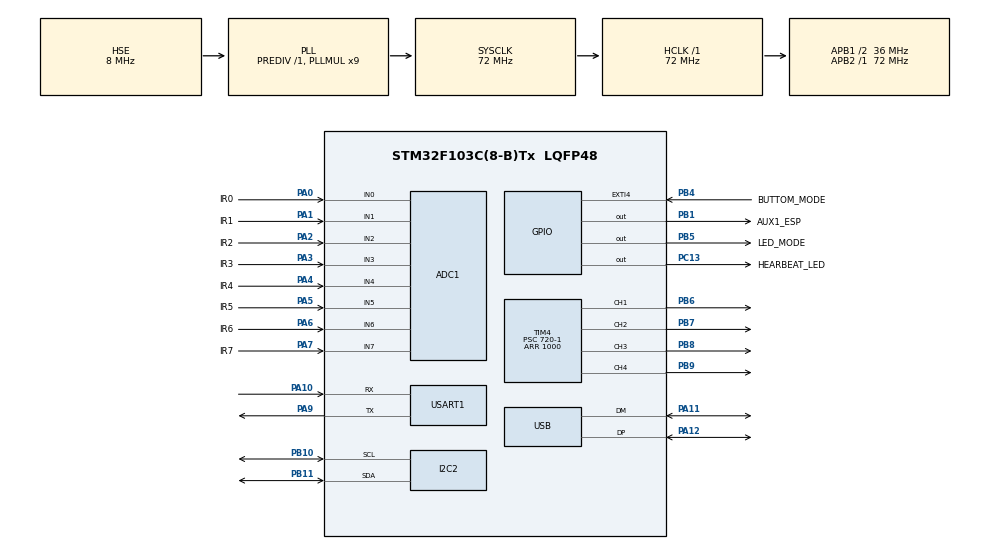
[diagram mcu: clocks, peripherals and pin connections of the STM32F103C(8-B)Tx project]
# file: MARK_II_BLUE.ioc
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ADC1.Channel-0\#ChannelRegularConversion=ADC_CHANNEL_0
ADC1.Channel-1\#ChannelRegularConversion=ADC_CHANNEL_0
ADC1.Channel-2\#ChannelRegularConversion=ADC_CHANNEL_0
ADC1.Channel-3\#ChannelRegularConversion=ADC_CHANNEL_0
ADC1.Channel-4\#ChannelRegularConversion=ADC_CHANNEL_0
ADC1.Channel-5\#ChannelRegularConversion=ADC_CHANNEL_0
ADC1.Channel-6\#ChannelRegularConversion=ADC_CHANNEL_0
ADC1.Channel-7\#ChannelRegularConversion=ADC_CHANNEL_0
ADC1.NbrOfConversion=8
ADC1.NbrOfConversionFlag=1
ADC1.Rank-0\#ChannelRegularConversion=1
ADC1.Rank-1\#ChannelRegularConversion=2
ADC1.Rank-2\#ChannelRegularConversion=3
ADC1.Rank-3\#ChannelRegularConversion=4
ADC1.Rank-4\#ChannelRegularConversion=5
ADC1.Rank-5\#ChannelRegularConversion=6
ADC1.Rank-6\#ChannelRegularConversion=7
ADC1.Rank-7\#ChannelRegularConversion=8
ADC1.SamplingTime-0\#ChannelRegularConversion=ADC_SAMPLETIME_1CYCLE_5
ADC1.SamplingTime-1\#ChannelRegularConversion=ADC_SAMPLETIME_1CYCLE_5
ADC1.SamplingTime-2\#ChannelRegularConversion=ADC_SAMPLETIME_1CYCLE_5
ADC1.SamplingTime-3\#ChannelRegularConversion=ADC_SAMPLETIME_1CYCLE_5
ADC1.SamplingTime-4\#ChannelRegularConversion=ADC_SAMPLETIME_1CYCLE_5
ADC1.SamplingTime-5\#ChannelRegularConversion=ADC_SAMPLETIME_1CYCLE_5
ADC1.SamplingTime-6\#ChannelRegularConversion=ADC_SAMPLETIME_1CYCLE_5
ADC1.SamplingTime-7\#ChannelRegularConversion=ADC_SAMPLETIME_1CYCLE_5
ADC1.master=1
Dma.ADC1.0.Direction=DMA_PERIPH_TO_MEMORY
Dma.ADC1.0.Instance=DMA1_Channel1
Dma.ADC1.0.MemDataAlignment=DMA_MDATAALIGN_HALFWORD
Dma.ADC1.0.MemInc=DMA_MINC_ENABLE
Dma.ADC1.0.Mode=DMA_NORMAL
Dma.ADC1.0.PeriphDataAlignment=DMA_PDATAALIGN_HALFWORD
Dma.ADC1.0.PeriphInc=DMA_PINC_DISABLE
Dma.ADC1.0.Priority=DMA_PRIORITY_LOW
Dma.Request0=ADC1
I2C2.I2C_Mode=I2C_Fast
Mcu.Family=STM32F1
Mcu.Name=STM32F103C(8-B)Tx
Mcu.Package=LQFP48
NVIC.ADC1_2_IRQn=true\:0\:0\:false\:false\:true\:true\:true\:true
NVIC.DMA1_Channel1_IRQn=true\:0\:0\:false\:false\:true\:false\:true\:true
NVIC.EXTI4_IRQn=true\:0\:0\:false\:false\:true\:true\:true\:true
NVIC.PriorityGroup=NVIC_PRIORITYGROUP_4
NVIC.TIM2_IRQn=true\:0\:0\:false\:false\:true\:true\:true\:true
NVIC.USART1_IRQn=true\:0\:0\:false\:false\:true\:true\:true\:true
NVIC.USB_LP_CAN1_RX0_IRQn=true\:0\:0\:false\:false\:true\:false\:true\:true
PA0-WKUP.GPIO_Label=IR0
PA0-WKUP.Signal=ADCx_IN0
PA1.GPIO_Label=IR1
PA1.Signal=ADCx_IN1
PA10.Mode=Asynchronous
PA10.Signal=USART1_RX
PA11.Mode=Device
PA11.Signal=USB_DM
PA12.Mode=Device
PA12.Signal=USB_DP
PA13.Mode=Serial_Wire
PA13.Signal=SYS_JTMS-SWDIO
PA14.Mode=Serial_Wire
PA14.Signal=SYS_JTCK-SWCLK
PA2.GPIO_Label=IR2
PA2.Signal=ADCx_IN2
PA3.GPIO_Label=IR3
PA3.Signal=ADCx_IN3
PA4.GPIO_Label=IR4
PA4.Signal=ADCx_IN4
PA5.GPIO_Label=IR5
PA5.Signal=ADCx_IN5
PA6.GPIO_Label=IR6
PA6.Signal=ADCx_IN6
PA7.GPIO_Label=IR7
PA7.Signal=ADCx_IN7
PA9.Mode=Asynchronous
PA9.Signal=USART1_TX
PB1.GPIO_Label=AUX1_ESP
PB1.Signal=GPIO_Output
PB10.Mode=I2C
PB10.Signal=I2C2_SCL
PB11.Mode=I2C
PB11.Signal=I2C2_SDA
PB4.GPIO_Label=BUTTOM_MODE
PB4.GPIO_ModeDefaultEXTI=GPIO_MODE_IT_FALLING
PB4.GPIO_PuPd=GPIO_PULLUP
PB4.Signal=GPXTI4
PB5.GPIO_Label=LED_MODE
PB5.Signal=GPIO_Output
PB6.Signal=S_TIM4_CH1
PB7.Signal=S_TIM4_CH2
PB8.Signal=S_TIM4_CH3
PB9.Signal=S_TIM4_CH4
PC13-TAMPER-RTC.GPIO_Label=HEARBEAT_LED
PC13-TAMPER-RTC.Signal=GPIO_Output
PC14-OSC32_IN.Mode=LSE-External-Oscillator
PC14-OSC32_IN.Signal=RCC_OSC32_IN
PC15-OSC32_OUT.Mode=LSE-External-Oscillator
PC15-OSC32_OUT.Signal=RCC_OSC32_OUT
PD0-OSC_IN.Mode=HSE-External-Oscillator
PD0-OSC_IN.Signal=RCC_OSC_IN
PD1-OSC_OUT.Mode=HSE-External-Oscillator
PD1-OSC_OUT.Signal=RCC_OSC_OUT
ProjectManager.HeapSize=0x200
ProjectManager.StackSize=0x400
ProjectManager.TargetToolchain=STM32CubeIDE
RCC.ADCPresc=RCC_ADCPCLK2_DIV6
RCC.AHBFreq_Value=72000000
RCC.APB1CLKDivider=RCC_HCLK_DIV2
RCC.APB1Freq_Value=36000000
RCC.APB1TimFreq_Value=72000000
RCC.APB2Freq_Value=72000000
RCC.APB2TimFreq_Value=72000000
RCC.HCLKFreq_Value=72000000
RCC.PLLMUL=RCC_PLL_MUL9
RCC.PLLSourceVirtual=RCC_PLLSOURCE_HSE
RCC.SYSCLKFreq_VALUE=72000000
RCC.SYSCLKSource=RCC_SYSCLKSOURCE_PLLCLK
RCC.USBFreq_Value=48000000
RCC.USBPrescaler=RCC_USBCLKSOURCE_PLL_DIV1_5
SH.ADCx_IN0.0=ADC1_IN0,IN0
SH.ADCx_IN1.0=ADC1_IN1,IN1
SH.ADCx_IN2.0=ADC1_IN2,IN2
SH.ADCx_IN3.0=ADC1_IN3,IN3
SH.ADCx_IN4.0=ADC1_IN4,IN4
SH.ADCx_IN5.0=ADC1_IN5,IN5
SH.ADCx_IN6.0=ADC1_IN6,IN6
SH.ADCx_IN7.0=ADC1_IN7,IN7
SH.S_TIM4_CH1.0=TIM4_CH1,PWM Generation1 CH1
SH.S_TIM4_CH2.0=TIM4_CH2,PWM Generation2 CH2
SH.S_TIM4_CH3.0=TIM4_CH3,PWM Generation3 CH3
SH.S_TIM4_CH4.0=TIM4_CH4,PWM Generation4 CH4
TIM2.Period=18000
TIM2.Prescaler=0
TIM4.Channel-PWM\ Generation1\ CH1=TIM_CHANNEL_1
TIM4.Channel-PWM\ Generation2\ CH2=TIM_CHANNEL_2
TIM4.Channel-PWM\ Generation3\ CH3=TIM_CHANNEL_3
TIM4.Channel-PWM\ Generation4\ CH4=TIM_CHANNEL_4
TIM4.Period=1000
TIM4.Prescaler=720-1
USART1.VirtualMode=VM_ASYNC
USB_DEVICE.CLASS_NAME_FS=CDC
USB_DEVICE.VirtualMode=Cdc
USB_DEVICE.VirtualModeFS=Cdc_FS
VP_TIM2_VS_ClockSourceINT.Mode=Internal
VP_TIM4_VS_ClockSourceINT.Mode=Internal
VP_USB_DEVICE_VS_USB_DEVICE_CDC_FS.Mode=CDC_FS
board=custom

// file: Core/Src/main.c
/* USER CODE BEGIN Header */
/**
  ******************************************************************************
  * @file           : main.c
  * @author  		: A. Nahuel Medina
  * @brief          : Main program body
  ******************************************************************************
  * @attention
  *
  * Copyright (c) 2023 STMicroelectronics.
  * All rights reserved.
  *
  * This software is licensed under terms that can be found in the LICENSE file
  * in the root directory of this software component.
  * If no LICENSE file comes with this software, it is provided AS-IS.
  *
  ******************************************************************************
  */
/* USER CODE END Header */
#include "main.h"
#include "usb_device.h"

/* USER CODE BEGIN Includes */
#include "usbd_cdc_if.h"
#include "ESP01.h"

#include "util.h"
#include "sh1106.h"
#include "MPU6050.h"

/* USER CODE END Includes */

ADC_HandleTypeDef hadc1;
DMA_HandleTypeDef hdma_adc1;

I2C_HandleTypeDef hi2c2;

TIM_HandleTypeDef htim2;
TIM_HandleTypeDef htim4;

UART_HandleTypeDef huart1;

/* USER CODE BEGIN PV */
/* COMUNICACION CODE BEGIN PV */
volatile _rx rxUSB;
_tx txUSB;
uint8_t bufUSB_Rx[256];
uint8_t bufUSB_Tx[256];
uint8_t bytes_to_send;

/*Comunicacion USART (comunicacion entre el micro y la ESP01)*/
volatile _rx rxUSART;
_tx txUSART;
uint8_t bufUSART_Rx[256];
uint8_t bufUSART_Tx[256];

/*Transmision desde el micro a la pc mediante WIFI*/
_tx txAUX;
uint8_t bufAUX_Tx[256];

_sESP01Handle ESP01Manager;
//Configuracion de valores para conexion UDP
// FACULTAD

const char SSID[]= "FCAL-Personal";
const char PASSWORD[]= "fcal-uner+2019";
const char RemoteIP[]="172.22.243.121";
uint16_t RemotePORT = 30010;
uint16_t LocalPORT = 30001;

//CASA
/*
const char SSID[]= "ANM2";
const char PASSWORD[]= "anm157523";
const char RemoteIP[]="192.168.0.11";
uint16_t RemotePORT = 30010;
uint16_t LocalPORT = 30001;
*/

/* COMUNICACION CODE EDN PV */

/* MPU6050 CODE BEGIN PV */
extern int32_t Ax, Ay, Az, Gx, Gy, Gz;
/* MPU6050 CODE END PV */

/* MANIPULACION DE DATOS Y BANDERAS CODE BEGIN PV */
uint8_t robotMode = IDLE;
_work w;
_flag flag1;
_flag flag2;
/* MANIPULACION DE DATOS Y BANDERAS CODE END PV */

/* HEARTBEAT CODE BEGIN PV */
uint32_t SECUENCE_LED_IDLE = MASK_IDLE;
uint32_t SECUENCE_LED_FOLLOW_LINE = MASK_FOLLOW_LINE;
uint8_t indexHb = 0;
/* HEARTBEAT CODE END PV */

/* ADC CODE BEGIN PV */
uint16_t ADCData[LENGHT_MAX_CONV_ADC][8];
uint16_t indexADC;
uint16_t analogValue_IR[8];
uint16_t digitalValue_IR[8];

//Variables de calibracion

//PID_IZQ
uint8_t posMINCenter=0,posMINRight=0,posMINLeft=0;
uint16_t sensorValue=0;
int32_t xMin=0,fx2_fx3,fx2_fx1,x2_x1,x2_x3,x2_x1cuad,x2_x3cuad,denominador, numerador, cuenta;
const int coorRefer[]={-50,-40,-30,-20,-10,10,20,30,40,50};

int16_t posicion_IR[9];
uint16_t umbralIR = 2000;
int16_t setpoint = 35;

int16_t suma_ponderada, suma, posicion;

int32_t KP_IZQ = 10;
int32_t KI_IZQ = 0;
int32_t KD_IZQ = 0;
//PID_DER
int32_t KP_DER = 10;
int32_t KI_DER = 0;
int32_t KD_DER = 0;

int16_t VEL_IZQ = 40;
int16_t VEL_DER = 20;

int16_t freno_adelante = 50;
int16_t freno_atras = -50;

//Variables PID
int32_t e_t = 0;
int32_t e_t_integral = 0;
int32_t e_t_derivativo = 0;
int32_t e_t_last = 0;
int32_t u_t_DER = 0;
int32_t u_t_IZQ = 0;

/* ADC CODE END PV */
int32_t VELX;
int32_t velx_last;

int32_t POSX;
int32_t posx_last;

int32_t ANGLEZ;
int32_t anglez_last;

/*Contador para TICKER 1MS*/
uint8_t time10ms;
uint8_t time100ms;
uint8_t time1seg;
uint16_t time5seg;

/* VARIABLES ESPECIFICAS SEGUN COMANDO CODE BEGIN PV */
const char FIRMWAREVERSION[] = "20231007_0102";
/* VARIABLES ESPECIFICAS SEGUN COMANDO CODE END PV */
/* USER CODE END PV */

void SystemClock_Config(void);
static void MX_GPIO_Init(void);
static void MX_DMA_Init(void);
static void MX_ADC1_Init(void);
static void MX_TIM4_Init(void);
static void MX_TIM2_Init(void);
static void MX_I2C2_Init(void);
static void MX_USART1_UART_Init(void);
/* USER CODE BEGIN PFP */

/* COMUNICACION CODE BEGIN PFP */
void OnUSBRx(uint8_t *buf, int length);
void DecodeHeader(_rx *RX, _tx *tx);                           	  //funcion que decodifica cabecera
void DecodeCMD(_rx *RX, _tx *tx);                                 //decodifica comando
void PutBufOnTx(_tx *TX, uint8_t *buf, uint8_t length);           //escribe datos en buffer de transmision
void PutByteOnTx(_tx *TX, uint8_t value);                         //escribe solo un valor en buffer de transmision
void PutHeaderOnTx(_tx *TX, uint8_t id, uint8_t lCmd);            //cabecera en buf de tx
void CalcAndPutCksOnTx(_tx *TX);                                  //calcula checksum
void PutStrOnTx(_tx *TX, const char *str);                        //escribe texto en buf de tx
uint8_t GetByteFromRx (_rx *RX, int8_t pre, int8_t pos);          //lee datos de buf de recepcion
void TransmitUSB();
void TransmitUSART();
/* COMUNICACION CODE END PFP */

/* SET LEDS CODE BEGIN PFP */
void setMode();
void hearbeatTask();
/* SET LEDS CODE END PFP */

/* PWM CODE BEGIN PV */
void PWM_init();

/* PWM CODE END PV */

/* ESP01 CODE BEGIN PFP */
void CHENState (uint8_t value);
int PutByteOnTxESP01(uint8_t value);
void GetESP01StateChange(_eESP01STATUS newState);
void GetESP01dbg(const char *dbgStr);
/* ESP01 CODE END PFP */

/* CONTROL CODE BEGIN PFP */
void RobotWorkout();
void MotorControl(int16_t setMotorRight, int16_t setMotorLeft);

void findLine();
void analogToDigital();
void correctionPID();
/* CONTROL CODE END PFP */

/* GRAFICAS SH1106 CODE BEGIN PFP */
void graficar_oled();
/* GRAFICAS SH1106 CODE END PFP */

/* CALCULO DE POSICION CODE BEGIN PFP */
void position_calculation();

/* UPDATE CODE BEGIN PFP */
void updateDataQT();
/* UPDATE CODE END PFP */

/* USER CODE END PFP */

/* USER CODE BEGIN 0 */

void HAL_TIM_PeriodElapsedCallback(TIM_HandleTypeDef *htim){						//Timer 2 (Se da cada 250us = 42 * 500 / 84Mhz)
	if(htim->Instance == TIM2){
		time10ms--;
		if(!time10ms){
			IS10MS = 1;																//habilita la funcion On1ms() en el main, que maneja todos los tickers
			time10ms = 40;															// 250us * 4 = 1ms
		}
		HAL_ADC_Start_DMA(&hadc1, (uint32_t *)&ADCData[indexADC], 8);
	}
}

void HAL_ADC_ConvCpltCallback(ADC_HandleTypeDef* hadc){
	uint16_t indexADC_aux = indexADC;

	analogValue_IR[0] = ADCData[indexADC_aux][0];
	analogValue_IR[1] = ADCData[indexADC_aux][1];
	analogValue_IR[2] = ADCData[indexADC_aux][2];
	analogValue_IR[3] = ADCData[indexADC_aux][3];
	analogValue_IR[4] = ADCData[indexADC_aux][4];
	analogValue_IR[5] = ADCData[indexADC_aux][5];
	analogValue_IR[6] = ADCData[indexADC_aux][6];
	analogValue_IR[7] = ADCData[indexADC_aux][7];
}

void HAL_UART_RxCpltCallback(UART_HandleTypeDef *huart){

	ESP01_WriteRX(bufUSART_Rx[rxUSART.iw]);
	rxUSART.iw++;
	rxUSART.iw &= rxUSART.maskSize;									//Mantiene la circularidad del buffer
	HAL_UART_Receive_IT(&huart1, &rxUSART.buf[rxUSART.iw], 1);		//Lo recibido en el uart1, lo almaceno en rxUSART[], recibo de a 1 byte															//Permite que el procesador haga cosas mas importantes mientras el periferico del USART se encarga de la recepcion

}

void OnUSBRx(uint8_t *myBuf, int length){
	for(int i=0; i<length; i++){
	  	rxUSB.buf[rxUSB.iw++] = myBuf[i];			//Cargo el dato recibido en el USB en el buffer de recepcion USB
	  	rxUSB.iw &= rxUSB.maskSize;           	//Mantiene el buffer circular
	}
	DATAREADY = 1;
}

void DecodeHeader(_rx *RX, _tx *tx){												//Decodifico la cabecera de lo que llegue por USB
    uint8_t i;

    i = RX->iw;                         	//auxiliar para que no cambie valor del indice de escritura mientras recorro el buffer de recepcion

    while(RX->ir != i){
        switch(RX->header){
            case 0:
                if(RX->buf[RX->ir] == 'U'){
                    RX->header = 1;
                    RX->timeout = 5;
                }
            break;
            case 1:
                if(RX->buf[RX->ir] == 'N'){
                    RX->header = 2;
                } else {
                    RX->header = 0;
                    RX->ir--;
                }
            break;
            case 2:
                if(RX->buf[RX->ir] == 'E'){
                    RX->header = 3;
                } else {
                    RX->header = 0;
                    RX->ir--;
                }
            break;
            case 3:
                if(RX->buf[RX->ir] == 'R'){
                    RX->header = 4;
                } else {
                    RX->header = 0;
                    RX->ir--;
                }
            break;
            case 4: //length
                RX->nbytes = RX->buf[RX->ir];
                RX->header = 5;
                RX->nbytesdata = RX->buf[RX->ir]-2;
            break;
            case 5: //token
                if(RX->buf[RX->ir] == ':'){
                    RX->header = 6;
                    RX->iData = RX->ir + 1;     //indice a partir de donde se encuentran los datos del comando
                    RX->iData &= RX->maskSize;
                    RX->cks = 'U' ^ 'N' ^ 'E' ^ 'R' ^ RX->nbytes ^ ':';
                } else {
                    RX->header = 0;
                    RX->ir--;
                }
            break;
            case 6: //datos de comando
                RX->nbytes--;
                if(RX->nbytes > 0){
                    RX->cks ^= RX->buf[RX->ir];
                } else {
                    RX->header = 0;
                    if(RX->cks == RX->buf[RX->ir]) 		//llega al checksum
                        RX->ISCMD = 1;					//es un comando valido
                }
            break;
            default:
                RX->header = 0;
            break;
        }
        RX->ir &= RX->maskSize;
        RX->ir++;
        RX->ir &= RX->maskSize;
    }

}

void DecodeCMD(_rx *RX, _tx *tx){												//Decodifico el comando que llegue por USB
	RX->ISCMD = 0;

    switch(RX->buf[RX->iData]){                 //segun el comando enviado
        case 0xF0:  //ALIVE
            PutHeaderOnTx(tx, 0xF0, 2);
            PutByteOnTx(tx, 0x0D);
            CalcAndPutCksOnTx(tx);
            tx->length = 3;
            break;
        case 0xF1: //firmware
            PutHeaderOnTx(tx, 0xF1, strlen(FIRMWAREVERSION) + 1);
            PutStrOnTx(tx, FIRMWAREVERSION);
            CalcAndPutCksOnTx(tx);
            break;
        case 0xA0: //ADC
            PutHeaderOnTx(tx, 0xA0, 16 + 1);
            PutBufOnTx(tx, (uint8_t *)analogValue_IR ,16);
            CalcAndPutCksOnTx(tx);
            break;
        case 0xA1: //MPU
        	PutHeaderOnTx(tx, 0xA1, 25);
        	MPU6050_Read_Accel();
        	w.i32 = Ax;
        	PutByteOnTx(tx, w.u8[0]);
        	PutByteOnTx(tx, w.u8[1]);
        	PutByteOnTx(tx, w.u8[2]);
        	PutByteOnTx(tx, w.u8[3]);
        	w.i32 = Ay;
        	PutByteOnTx(tx, w.u8[0]);
        	PutByteOnTx(tx, w.u8[1]);
        	PutByteOnTx(tx, w.u8[2]);
        	PutByteOnTx(tx, w.u8[3]);
        	w.i32 = Az;
        	PutByteOnTx(tx, w.u8[0]);
        	PutByteOnTx(tx, w.u8[1]);
        	PutByteOnTx(tx, w.u8[2]);
        	PutByteOnTx(tx, w.u8[3]);

        	MPU6050_Read_Gyro();
        	w.i32 = Gx;
        	PutByteOnTx(tx, w.u8[0]);
        	PutByteOnTx(tx, w.u8[1]);
        	PutByteOnTx(tx, w.u8[2]);
        	PutByteOnTx(tx, w.u8[3]);
        	w.i32 = Gy;
        	PutByteOnTx(tx, w.u8[0]);
        	PutByteOnTx(tx, w.u8[1]);
        	PutByteOnTx(tx, w.u8[2]);
        	PutByteOnTx(tx, w.u8[3]);
        	w.i32 = Gz;
        	PutByteOnTx(tx, w.u8[0]);
        	PutByteOnTx(tx, w.u8[1]);
        	PutByteOnTx(tx, w.u8[2]);
        	PutByteOnTx(tx, w.u8[3]);
        	CalcAndPutCksOnTx(tx);
		break;

        case 0xA2: //DATACONTROL
        	PutHeaderOnTx(tx, 0xA2, 32);
        	w.i32 = KP_IZQ;
        	PutByteOnTx(tx, w.u8[0]);
        	PutByteOnTx(tx, w.u8[1]);
        	PutByteOnTx(tx, w.u8[2]);
        	PutByteOnTx(tx, w.u8[3]);
        	w.i32 = KI_IZQ;
        	PutByteOnTx(tx, w.u8[0]);
        	PutByteOnTx(tx, w.u8[1]);
        	PutByteOnTx(tx, w.u8[2]);
        	PutByteOnTx(tx, w.u8[3]);
        	w.i32 = KD_IZQ;
        	PutByteOnTx(tx, w.u8[0]);
        	PutByteOnTx(tx, w.u8[1]);
        	PutByteOnTx(tx, w.u8[2]);
        	PutByteOnTx(tx, w.u8[3]);
        	w.i16[0] = VEL_IZQ;
        	PutByteOnTx(tx, w.u8[0]);
        	PutByteOnTx(tx, w.u8[1]);

        	w.i32 = KP_DER;
        	PutByteOnTx(tx, w.u8[0]);
        	PutByteOnTx(tx, w.u8[1]);
        	PutByteOnTx(tx, w.u8[2]);
        	PutByteOnTx(tx, w.u8[3]);
        	w.i32 = KI_DER;
        	PutByteOnTx(tx, w.u8[0]);
        	PutByteOnTx(tx, w.u8[1]);
        	PutByteOnTx(tx, w.u8[2]);
        	PutByteOnTx(tx, w.u8[3]);
        	w.i32 = KD_DER;
        	PutByteOnTx(tx, w.u8[0]);
        	PutByteOnTx(tx, w.u8[1]);
        	PutByteOnTx(tx, w.u8[2]);
        	PutByteOnTx(tx, w.u8[3]);
        	w.i16[0] = VEL_DER;
        	PutByteOnTx(tx, w.u8[0]);
        	PutByteOnTx(tx, w.u8[1]);

        	PutByteOnTx(tx, robotMode);
        	CalcAndPutCksOnTx(tx);
        break;

        case 0xA3: //SETDATACONTROL
        	//KP_IZQ---------------------------
        	w.u8[0] = RX->buf[RX->iData+1];
        	w.u8[1] = RX->buf[RX->iData+2];
        	w.u8[2] = RX->buf[RX->iData+3];
        	w.u8[3] = RX->buf[RX->iData+4];
        	KP_IZQ = w.i32;
        	//KI_IZQ---------------------------
        	w.u8[0] = RX->buf[RX->iData+5];
        	w.u8[1] = RX->buf[RX->iData+6];
        	w.u8[2] = RX->buf[RX->iData+7];
        	w.u8[3] = RX->buf[RX->iData+8];
        	KI_IZQ = w.i32;
        	//KD_IZQ---------------------------
        	w.u8[0] = RX->buf[RX->iData+9];
        	w.u8[1] = RX->buf[RX->iData+10];
        	w.u8[2] = RX->buf[RX->iData+11];
        	w.u8[3] = RX->buf[RX->iData+12];
        	KD_IZQ = w.i32;
        	//VEL_IZQ--------------------------
        	w.u8[0] = RX->buf[RX->iData+13];
        	w.u8[1] = RX->buf[RX->iData+14];
        	VEL_IZQ = w.i16[0];

        	//KP_DER---------------------------
        	w.u8[0] = RX->buf[RX->iData+15];
        	w.u8[1] = RX->buf[RX->iData+16];
        	w.u8[2] = RX->buf[RX->iData+17];
        	w.u8[3] = RX->buf[RX->iData+18];
        	KP_DER = w.i32;
        	//KI_DER---------------------------
        	w.u8[0] = RX->buf[RX->iData+19];
        	w.u8[1] = RX->buf[RX->iData+20];
        	w.u8[2] = RX->buf[RX->iData+21];
        	w.u8[3] = RX->buf[RX->iData+22];
        	KI_DER = w.i32;
        	//KD_DER---------------------------
        	w.u8[0] = RX->buf[RX->iData+23];
        	w.u8[1] = RX->buf[RX->iData+24];
        	w.u8[2] = RX->buf[RX->iData+25];
        	w.u8[3] = RX->buf[RX->iData+26];
        	KD_DER = w.i32;
        	//VEL_DER--------------------------
        	w.u8[0] = RX->buf[RX->iData+27];
        	w.u8[1] = RX->buf[RX->iData+28];
        	VEL_DER = w.i16[0];

        	PutHeaderOnTx(tx, 0xA3, 2);
        	PutByteOnTx(tx, 0x0D);
        	CalcAndPutCksOnTx(tx);

        	//Realizar un comando de CHECK
        break;

        case 0xA4: //SETFREQ
        	PutHeaderOnTx(tx, 0xA4, 5);
        	w.i32 = e_t;
        	PutByteOnTx(tx, w.u8[0]);
        	PutByteOnTx(tx, w.u8[1]);
        	PutByteOnTx(tx, w.u8[2]);
        	PutByteOnTx(tx, w.u8[3]);
        	CalcAndPutCksOnTx(tx);
        break;
        case 0xA5: //SETROBOTMODE
        	robotMode = RX->buf[RX->iData+1];
        break;
        case 0xA6:
        	PutHeaderOnTx(tx, 0xA6, 5);
        	w.i32 = e_t;
        	PutByteOnTx(tx, w.u8[0]);
        	PutByteOnTx(tx, w.u8[1]);
        	PutByteOnTx(tx, w.u8[2]);
        	PutByteOnTx(tx, w.u8[3]);
        	CalcAndPutCksOnTx(tx);
        break;
        default:
            PutHeaderOnTx(tx, RX->buf[RX->iData], 2);        //Devuelve 0xFF si hay un comando que no se interpretó
            PutByteOnTx(tx, 0xFF);
            CalcAndPutCksOnTx(tx);
        break;
    }
}

void PutBufOnTx(_tx *TX, uint8_t *buf, uint8_t length){								//Pongo buffer en Tx (Sirve para payload)
    uint8_t i;

    for(i=0; i < length; i++){
        TX->buf[TX->iw++] = buf[i];
        TX->iw &= TX->maskSize;
    }
}

void PutByteOnTx(_tx *TX, uint8_t value){											//Coloco byte en buffer de transmision
	TX->buf[TX->iw++] = value;
    TX->iw &= TX->maskSize;
}

void PutHeaderOnTx(_tx *TX, uint8_t id, uint8_t lCmd){								//Coloco cabecera hasta id en buffer de transmision
	TX->buf[TX->iw++] = 'U';
    TX->iw &= TX->maskSize;
    TX->buf[TX->iw++] = 'N';
    TX->iw &= TX->maskSize;
    TX->buf[TX->iw++] = 'E';
    TX->iw &= TX->maskSize;
    TX->buf[TX->iw++] = 'R';
    TX->iw &= TX->maskSize;
    TX->length = lCmd; //largo del comando
    TX->buf[TX->iw++] = lCmd + 1; // lCmd = ID + payload || 1 byte se le suma por el checksum
    TX->iw &= TX->maskSize;
    TX->buf[TX->iw++] = ':';
    TX->iw &= TX->maskSize;
    TX->buf[TX->iw++] = id;
    TX->iw &= TX->maskSize;
}

void CalcAndPutCksOnTx(_tx *TX){													//Calculo checksum y coloco en buffer de transmision
    uint8_t cks, i;

    //recorro el indice y voy guardando el cks
    cks = 0;
    i = TX->length +6;
    i = TX->iw-i;
    i &= TX->maskSize;
    while(i != TX->iw){
        cks ^= TX->buf[i++];
        i &= TX->maskSize;
    }

    TX->buf[TX->iw++] = cks;
    TX->iw &= TX->maskSize;
}

void PutStrOnTx(_tx *TX, const char *str){                  						//Coloco cadena de caracteres en buffer de transmision
    uint8_t i = 0;

    while(str[i]){
        TX->buf[TX->iw++] = str[i++];
        TX->iw &= TX->maskSize;
    }

}

uint8_t GetByteFromRx (_rx *RX, int8_t pre, int8_t pos){							//Obtengo payload del buffer de recepcion
    uint8_t aux;

    RX->iData += pre;
    RX->iData &= RX->maskSize;
    aux = RX->buf[RX->iData];
    RX->iData += pos;
    RX->iData &= RX->maskSize;

    return aux;
}

void TransmitUSB(){
	uint8_t freeBytes;

	freeBytes = 0;
	if(!AUX_USB){
	   freeBytes = 255 - txUSB.ir;							//Calculo cuanto mas puede avanzar mi indice de lectura para enviar el dato
	  AUX_USB = 1;
	}
	if((txUSB.length+7 <= freeBytes) && (bytes_to_send == 0)){	//Si en mi indice de lectura me da para mandar el largo del comando lo mando directo
	  if(USBD_OK == CDC_Transmit_FS(&txUSB.buf[txUSB.ir], txUSB.length+7)){//Envio dato
		  bytes_to_send = 0;											//Cantidad de datos que faltaron enviar
		  txUSB.ir = txUSB.iw;
		  AUX_USB = 0;
	  }
	}else{
	  if((txUSB.length+7 > freeBytes) && (bytes_to_send == 0)){//Si el largo de mi comando no entra en el indice de lectura envio por partes
		  if(USBD_OK == CDC_Transmit_FS(&txUSB.buf[txUSB.ir], freeBytes)){//Envio primera parte del dato
			  txUSB.ir += freeBytes;
			  bytes_to_send = (txUSB.length+7) - freeBytes;				//Cantidad de datos que faltaron enviar
		  }
	  }
	  if(bytes_to_send > 0){
		  if(USBD_OK == CDC_Transmit_FS(&txUSB.buf[txUSB.ir], bytes_to_send)){//Envio dato bytes_to_send que falto enviar
			  bytes_to_send = 0;											//Cantidad de datos que faltaron enviar
			  txUSB.ir = txUSB.iw;
			  AUX_USB = 0;
		  }
	  }
	}
}

void TransmitUSART(){
	uint16_t len;

	len = txUSART.iw - txUSART.ir;
	len &= 0x00FF;
	if(ESP01_Send(txUSART.buf, txUSART.ir, len, 256) == ESP01_SEND_READY)
		txUSART.ir = txUSART.iw;

}

void setMode(){
	if(STARTSTOP){
		STARTSTOP = 0;
		robotMode = IDLE;
		HEARBEAT_STATUS = 0;
		MotorControl(0,0);
	}else{
		STARTSTOP = 1;
		robotMode = FOLLOW_LINE;
		HEARBEAT_STATUS = 1;
	}
}

void hearbeatTask(){
	if(HEARBEAT_STATUS){
		HAL_GPIO_WritePin(HEARBEAT_LED_GPIO_Port, HEARBEAT_LED_Pin, SECUENCE_LED_IDLE & (1<<indexHb));
		HAL_GPIO_WritePin(LED_MODE_GPIO_Port, LED_MODE_Pin, SECUENCE_LED_IDLE & (1<<indexHb));
		indexHb++;
		if(indexHb >= 32){
			indexHb = 0;
		}
	}else{
		HAL_GPIO_WritePin(HEARBEAT_LED_GPIO_Port, HEARBEAT_LED_Pin, SECUENCE_LED_FOLLOW_LINE & (1<<indexHb));
		HAL_GPIO_WritePin(LED_MODE_GPIO_Port, LED_MODE_Pin, SECUENCE_LED_FOLLOW_LINE & (1<<indexHb));
		indexHb++;
		if(indexHb >= 32){
			indexHb = 0;
		}
	}
}

void PWM_init(){

	HAL_TIM_Base_Start(&htim4);

	HAL_TIM_PWM_Start(&htim4, TIM_CHANNEL_1);
	HAL_TIM_PWM_Start(&htim4, TIM_CHANNEL_2);
	HAL_TIM_PWM_Start(&htim4, TIM_CHANNEL_3);
	HAL_TIM_PWM_Start(&htim4, TIM_CHANNEL_4);

	__HAL_TIM_SET_COMPARE(&htim4, TIM_CHANNEL_1, 0);
	__HAL_TIM_SET_COMPARE(&htim4, TIM_CHANNEL_2, 0);
	__HAL_TIM_SET_COMPARE(&htim4, TIM_CHANNEL_3, 0);
	__HAL_TIM_SET_COMPARE(&htim4, TIM_CHANNEL_4, 0);

}

void On10ms(){	//ticker que indica cuando paso 10ms
	time5seg--;
	if(!time5seg){
		IS5SEG = 1;
		time5seg = 500;
	}

	time1seg--;
	if(!time1seg){
		IS1S = 1;
		time1seg = 100;
	}

	time100ms--;
	if(!time100ms){
		IS100MS = 1;
		time100ms = 10;
		hearbeatTask();
	}

	ESP01_Timeout10ms();

}

void On5s(){	//ticker que indica cuando paso 5s

	PutHeaderOnTx(&txUSART, 0xF0, 2);
	PutByteOnTx(&txUSART, 0x0D);
	CalcAndPutCksOnTx(&txUSART);

	/*PutHeaderOnTx(&txUSART, 0xA6, 21);
	w.i32 = VELX;
	PutByteOnTx(&txUSART, w.u8[0]);
	PutByteOnTx(&txUSART, w.u8[1]);
	PutByteOnTx(&txUSART, w.u8[2]);
	PutByteOnTx(&txUSART, w.u8[3]);
	w.i32 = POSX;
	PutByteOnTx(&txUSART, w.u8[0]);
	PutByteOnTx(&txUSART, w.u8[1]);
	PutByteOnTx(&txUSART, w.u8[2]);
	PutByteOnTx(&txUSART, w.u8[3]);
	w.i32 = denominador;
	PutByteOnTx(&txUSART, w.u8[0]);
	PutByteOnTx(&txUSART, w.u8[1]);
	PutByteOnTx(&txUSART, w.u8[2]);
	PutByteOnTx(&txUSART, w.u8[3]);
	w.i32 = e_t;
	PutByteOnTx(&txUSART, w.u8[0]);
	PutByteOnTx(&txUSART, w.u8[1]);
	PutByteOnTx(&txUSART, w.u8[2]);
	PutByteOnTx(&txUSART, w.u8[3]);
	w.i32 = u_t_IZQ;
	PutByteOnTx(&txUSART, w.u8[0]);
	PutByteOnTx(&txUSART, w.u8[1]);
	PutByteOnTx(&txUSART, w.u8[2]);
	PutByteOnTx(&txUSART, w.u8[3]);

	CalcAndPutCksOnTx(&txUSART);*/

	//graficar_oled();

	/*PutHeaderOnTx(&txUSART, 0xF1, 16);
	PutStrOnTx(&txUSART, ESP01_GetLocalIP());
	CalcAndPutCksOnTx(&txUSART);*/
}

void CHENState (uint8_t value){
	HAL_GPIO_WritePin(AUX1_ESP_GPIO_Port, AUX1_ESP_Pin, value);
}

int PutByteOnTxESP01(uint8_t value)
{
	if(__HAL_UART_GET_FLAG(&huart1, UART_FLAG_TXE)){
		USART1->DR = value;
		return 1;
	}
	return 0;
}

void GetESP01StateChange(_eESP01STATUS newState){

	if(newState == ESP01_WIFI_CONNECTED){
		PutStrOnTx(&txUSB, "+&ESPWIFI CONNECTED\n");
	}
	if(newState == ESP01_WIFI_NEW_IP){
		PutStrOnTx(&txUSB, "+&ESPIP: ");
		PutStrOnTx(&txUSB, ESP01_GetLocalIP());
		PutStrOnTx(&txUSB, "\n");
	}
	if(newState == ESP01_UDPTCP_CONNECTED){
		PutStrOnTx(&txUSB, "+&UDP CONNECTED\n");
		//timeOutAliveUDP =10;

	}
	if(newState == ESP01_SEND_OK){
		PutStrOnTx(&txUSB, "+&UDP SEND OK\n");
	}
}

void GetESP01dbg(const char *dbgStr){
	//PutStrOnTx(&txUSB, dbgStr);
}

/* CONTROL CODE BEGIN PFP */

void RobotWorkout(){

	position_calculation();

	switch(robotMode){
	case IDLE:

		break;
	case FOLLOW_LINE:
		findLine();
		analogToDigital();
		correctionPID();
		break;
	}

}
//------------------------CONTROL DE MOTORES-----------------------------
void MotorControl(int16_t setMotorRight, int16_t setMotorLeft){
	int16_t auxSetMotor;

	auxSetMotor = (abs(setMotorRight)*TIM4->ARR)/100;
	if(setMotorRight >= 0){
		//SET MOTOR DERECHO ADELANTE
		__HAL_TIM_SET_COMPARE(&htim4, TIM_CHANNEL_1, auxSetMotor);
		__HAL_TIM_SET_COMPARE(&htim4, TIM_CHANNEL_2, 0);
	}else{
		//SET MOTOR DERECHO REVERSA
		__HAL_TIM_SET_COMPARE(&htim4, TIM_CHANNEL_1, 0);
		__HAL_TIM_SET_COMPARE(&htim4, TIM_CHANNEL_2, auxSetMotor);
	}

	auxSetMotor = (abs(setMotorLeft)*TIM4->ARR)/100;
	if(setMotorLeft >= 0){
		//SET MOTOR IZQUIERDO ADELANTE
		__HAL_TIM_SET_COMPARE(&htim4, TIM_CHANNEL_3, 0);
		__HAL_TIM_SET_COMPARE(&htim4, TIM_CHANNEL_4, auxSetMotor);
	}else{
		//SET MOTOR IZQUIERDO REVERSA
		__HAL_TIM_SET_COMPARE(&htim4, TIM_CHANNEL_3, auxSetMotor);
		__HAL_TIM_SET_COMPARE(&htim4, TIM_CHANNEL_4, 0);
	}

}
//------------------------CONTROL CUADRATICO-----------------------------

void findLine(){
	int32_t aux[10];

	sensorValue = analogValue_IR[0];
	posMINCenter = 1;

	for(uint8_t f=0 ; f<8 ; f++){ //busco el valor min
		if(sensorValue > analogValue_IR[f]){
			sensorValue = analogValue_IR[f];
			posMINCenter = f+1;
		}
		aux[f+1] = analogValue_IR[f];
	}
 	//posMINCenter++;

 	aux[0] = aux[2];
 	aux[9] = aux[7];

	posMINRight = posMINCenter - 1;
	posMINLeft = posMINCenter + 1;

	fx2_fx3 = aux[posMINCenter]-aux[posMINRight];
	fx2_fx1 = aux[posMINCenter]-aux[posMINLeft];

	//saco distancia a 0
	x2_x1 = coorRefer[posMINCenter]-coorRefer[posMINLeft];
	x2_x3 = coorRefer[posMINCenter]-coorRefer[posMINRight];

	x2_x1cuad = (x2_x1*x2_x1);
	x2_x3cuad = (x2_x3*x2_x3);

	denominador = (2*(x2_x1*fx2_fx3 - x2_x3*fx2_fx1));

	if(denominador != 0){
		xMin = coorRefer[posMINCenter]-((x2_x1cuad*fx2_fx3 - x2_x3cuad*fx2_fx1)/denominador);
	}

	e_t = -xMin;

}

//---------------------------CONTROL PID---------------------------------
void correctionPID(){
	int16_t VEL_DER_aux,VEL_IZQ_aux;

	//e_t_integral = e_t_integral + (e_t*TM) + ((TM*(e_t - e_t_last))/2);

	if(e_t_integral > 100){e_t_integral = 100;}
	if(e_t_integral < -100){e_t_integral = -100;}

	//e_t_derivativo= (e_t - e_t_last)/TM;

	e_t_last = e_t;

	//PID MOTOR DERECHO
	u_t_DER= (KP_DER * e_t) + (KD_DER * e_t_derivativo) + (KI_DER * e_t_integral);
	//PID MOTOR IZQUIERDO
	u_t_IZQ= (KP_IZQ * e_t) + (KD_IZQ * e_t_derivativo) + (KI_IZQ * e_t_integral);

	VEL_DER_aux = (int16_t)(VEL_DER + u_t_DER/10);
	VEL_IZQ_aux = (int16_t)(VEL_IZQ - u_t_IZQ/10);

	if(VEL_DER_aux > VEL_MAX){VEL_DER_aux = VEL_MAX;}
	if(VEL_IZQ_aux > VEL_MAX){VEL_IZQ_aux = VEL_MAX;}

	if(posicion >= 65){
		MotorControl(freno_adelante,freno_atras);
	}else if(posicion <= 5){
		MotorControl(freno_atras, freno_adelante);
	}else{
		MotorControl(VEL_DER_aux, VEL_IZQ_aux);
	}

	if(IS1S){
		IS1S = 0;
		PutHeaderOnTx(&txUSART, 0xA4, 5);
		w.i32 = e_t;
		PutByteOnTx(&txUSART, w.u8[0]);
		PutByteOnTx(&txUSART, w.u8[1]);
		PutByteOnTx(&txUSART, w.u8[2]);
		PutByteOnTx(&txUSART, w.u8[3]);
		CalcAndPutCksOnTx(&txUSART);
	}

}
//---------------------CONTROL DE SUMA PONDERADA-------------------------
void analogToDigital(){
	for(int i=0; i<8; i++){
		if(analogValue_IR[i] >= umbralIR){
			digitalValue_IR[i] = 0;
			posicion_IR[i] = 0;
		}else{
			digitalValue_IR[i] = 1;
			posicion_IR[i] = 1;
		}
	}

	suma_ponderada = (70*digitalValue_IR[0] + 60*digitalValue_IR[1] +
					  50*digitalValue_IR[2] + 40*digitalValue_IR[3] +
					  30*digitalValue_IR[4] + 20*digitalValue_IR[5] +
					  10*digitalValue_IR[6] + 0*digitalValue_IR[7]);

	suma = (digitalValue_IR[0] + digitalValue_IR[1] +
			digitalValue_IR[2] + digitalValue_IR[3] +
			digitalValue_IR[4] + digitalValue_IR[5] +
			digitalValue_IR[6] + digitalValue_IR[7]);

	if(suma != 0){
		posicion = (suma_ponderada / suma);
	}

	posicion_IR[8] = posicion;
}

/* CONTROL CODE END PFP */

/* GRAFICAS SH1106 CODE BEGIN PFP */
/*
void graficar_oled(){
	uint8_t y = 0;
	sh1106_Fill(Black);
	char buf[10];
	static uint8_t oledMode =0;
	#ifdef SH1106_INCLUDE_FONT_7x10
	switch(oledMode){
		case DATACONEXION:
			//Text MARK II
			sh1106_SetCursor(40, y);
			sh1106_WriteString("MARK II", Font_7x10, White);
			y+=10;

			//IP
			sh1106_SetCursor(2, y);
			sh1106_WriteString("IP: ", Font_7x10, White);
			sh1106_WriteString(ESP01_GetLocalIP(), Font_7x10, White);
			y+=10;

			//PORT
			sh1106_SetCursor(2, y);
			sh1106_WriteString("PORT:", Font_7x10, White);
			sprintf(buf,"%lu",LocalPORT);
			sh1106_WriteString(buf, Font_7x10, White);
			y+=10;

			//STATUS WIFI
			sh1106_SetCursor(2, y);
			if(ESP01_StateWIFI() == ESP01_WIFI_CONNECTED){
				sh1106_WriteString("WIFI:CONNECTED", Font_7x10, White);
			}else{
				sh1106_WriteString("WIFI:DISCONNECTED", Font_7x10, White);
			}
			y+=10;

			//STATUS UDP
			sh1106_SetCursor(2, y);
			if(ESP01_StateUDPTCP() == ESP01_UDPTCP_CONNECTED){
				sh1106_WriteString("UDP:CONNECTED", Font_7x10, White);
			}else{
				sh1106_WriteString("UDP:DISCONNECTED", Font_7x10, White);
			}
			y+=10;
			//MODE
			sh1106_SetCursor(2, y);
			sh1106_WriteString("MODE:", Font_7x10, White);
			if(robotMode == IDLE){
				sh1106_WriteString("IDLE", Font_7x10, White);
			}else{
				sh1106_WriteString("FOLLOW LINE", Font_7x10, White);
			}

			break;
		case DATAACCEL:
			//Text MPU6050
			sh1106_SetCursor(40, y);
			sh1106_WriteString("MPU6050", Font_7x10, White);

			//acceleration values in 'g
			sprintf (buf, "%u", Ax);
			sh1106_SetCursor(2, 15);
			sh1106_WriteString("Ax:", Font_7x10, White);
			sh1106_WriteString(buf, Font_7x10, White);
			//sh1106_WriteString("g", Font_7x10, White);

			//gyroscope values in dps (degrees/s)
			sprintf (buf, "%u", Gx);
			sh1106_WriteString(" Gx:", Font_7x10, White);
			sh1106_WriteString(buf, Font_7x10, White);

			//acceleration values in 'g
			sprintf (buf, "%u", Ay);
			sh1106_SetCursor(2, 30);
			sh1106_WriteString("Ay:", Font_7x10, White);
			sh1106_WriteString(buf, Font_7x10, White);
			//sh1106_WriteString("g", Font_7x10, White);

			//gyroscope values in dps (degrees/s)
			sprintf (buf, "%u", Gy);
			sh1106_WriteString(" Gy:", Font_7x10, White);
			sh1106_WriteString(buf, Font_7x10, White);

			//acceleration values in 'g
			sprintf (buf, "%u", Az);
			sh1106_SetCursor(2, 45);
			sh1106_WriteString("Az:", Font_7x10, White);
			sh1106_WriteString(buf, Font_7x10, White);
				//sh1106_WriteString("g", Font_7x10, White);

			//gyroscope values in dps (degrees/s)
			sprintf (buf, "%u", Gz);
			sh1106_WriteString(" Gz:", Font_7x10, White);
			sh1106_WriteString(buf, Font_7x10, White);
			break;
		case DATARECORDVEL:
			//Text MARK II
			sh1106_SetCursor(40, y);
			sh1106_WriteString("MPU6050", Font_7x10, White);
			//ANGLEZ
			sprintf (buf, "%u", ANGLEZ);
			sh1106_SetCursor(2, 10);
			sh1106_WriteString("ANGLEZ: ", Font_7x10, White);
			sh1106_WriteString(buf, Font_7x10, White);

			//VELX
			sprintf (buf, "%u", VELX);
			sh1106_SetCursor(2, 20);
			sh1106_WriteString("VELX:", Font_7x10, White);
			sh1106_WriteString(buf, Font_7x10, White);

			//POSX
			sprintf (buf, "%u", POSX);
			sh1106_SetCursor(2, 30);
			sh1106_WriteString("POSX:", Font_7x10, White);
			sh1106_WriteString(buf, Font_7x10, White);
			break;
	}

	#endif

	//oledMode++;

	//if(oledMode >=3){
	//	oledMode = 0;
	//}

	sh1106_UpdateScreen();

}
*/
/* GRAFICAS SH1106 CODE END PFP */

/* CALCULO DE POSICION CODE BEGIN PFP */
void position_calculation(){

	MPU6050_Read_Accel();
	MPU6050_Read_Gyro();

	ANGLEZ = anglez_last + Gz*TM;

	anglez_last = ANGLEZ;

	VELX = velx_last + Ax*TM;

	velx_last = VELX;

	POSX = posx_last + VELX*TM;

	posx_last = POSX;

}

/* CALCULO DE POSICION CODE END PFP */

/* UPDATE CODE BEGIN PFP */
void updateDataQT(){

	if(IS1S){
		IS1S = 0;
		PutHeaderOnTx(&txUSB, 0xA1, 25);
		MPU6050_Read_Accel();
		w.i32 = Ax;
		PutByteOnTx(&txUSB, w.u8[0]);
		PutByteOnTx(&txUSB, w.u8[1]);
		PutByteOnTx(&txUSB, w.u8[2]);
		w.i32 = Ay;
		PutByteOnTx(&txUSB, w.u8[0]);
		PutByteOnTx(&txUSB, w.u8[1]);
		PutByteOnTx(&txUSB, w.u8[2]);
		PutByteOnTx(&txUSB, w.u8[3]);
		w.i32 = Az;
		PutByteOnTx(&txUSB, w.u8[0]);
		PutByteOnTx(&txUSB, w.u8[1]);
		PutByteOnTx(&txUSB, w.u8[2]);
		PutByteOnTx(&txUSB, w.u8[3]);

		MPU6050_Read_Gyro();
		w.i32 = Gx;
		PutByteOnTx(&txUSB, w.u8[0]);
		PutByteOnTx(&txUSB, w.u8[1]);
		PutByteOnTx(&txUSB, w.u8[2]);
		PutByteOnTx(&txUSB, w.u8[3]);
		w.i32 = Gy;
		PutByteOnTx(&txUSB, w.u8[0]);
		PutByteOnTx(&txUSB, w.u8[1]);
		PutByteOnTx(&txUSB, w.u8[2]);
		PutByteOnTx(&txUSB, w.u8[3]);
		w.i32 = Gz;
		PutByteOnTx(&txUSB, w.u8[0]);
		PutByteOnTx(&txUSB, w.u8[1]);
		PutByteOnTx(&txUSB, w.u8[2]);
		PutByteOnTx(&txUSB, w.u8[3]);
		CalcAndPutCksOnTx(&txUSB);
	}

	if(IS100MS){
		IS100MS = 0;

		PutHeaderOnTx(&txUSB, 0xA6, 21);
		w.i32 = VELX;
		PutByteOnTx(&txUSB, w.u8[0]);
		PutByteOnTx(&txUSB, w.u8[1]);
		PutByteOnTx(&txUSB, w.u8[2]);
		PutByteOnTx(&txUSB, w.u8[3]);
		w.i32 = POSX;
		PutByteOnTx(&txUSB, w.u8[0]);
		PutByteOnTx(&txUSB, w.u8[1]);
		PutByteOnTx(&txUSB, w.u8[2]);
		PutByteOnTx(&txUSB, w.u8[3]);
		w.i32 = denominador;
		PutByteOnTx(&txUSB, w.u8[0]);
		PutByteOnTx(&txUSB, w.u8[1]);
		PutByteOnTx(&txUSB, w.u8[2]);
		PutByteOnTx(&txUSB, w.u8[3]);
		w.i32 = e_t;
		PutByteOnTx(&txUSB, w.u8[0]);
		PutByteOnTx(&txUSB, w.u8[1]);
		PutByteOnTx(&txUSB, w.u8[2]);
		PutByteOnTx(&txUSB, w.u8[3]);
		w.i32 = u_t_IZQ;
		PutByteOnTx(&txUSB, w.u8[0]);
		PutByteOnTx(&txUSB, w.u8[1]);
		PutByteOnTx(&txUSB, w.u8[2]);
		PutByteOnTx(&txUSB, w.u8[3]);

		CalcAndPutCksOnTx(&txUSB);
	}
}
/* UPDATE CODE END PFP */

/* USER CODE END 0 */

int main(void)
{

  /* MCU Configuration--------------------------------------------------------*/

  /* Reset of all peripherals, Initializes the Flash interface and the Systick. */
  HAL_Init();

  /* USER CODE BEGIN Init */

  /*Flags*/
	flag1.byte = 0;                             				//pongo todos los bits en 0
	flag2.byte = 0;

  //CONFIGURACION DE COMUNICACION
  /*Buffers de recepcion y transmision USB y USART*/

    rxUSB.buf = (uint8_t *)bufUSB_Rx;							//Puntero a bufUSB_Rx
  	rxUSB.ir = 0;
  	rxUSB.iw = 0;
  	rxUSB.maskSize = 0xFF;
  	rxUSB.header = 0;

  	rxUSART.buf = (uint8_t *)bufUSART_Rx;						//Puntero a busUSART_Rx
  	rxUSART.ir = 0;
  	rxUSART.iw = 0;
  	rxUSART.maskSize = 0xFF;
  	rxUSART.header = 0;

  	txAUX.buf = bufAUX_Tx;										//Puntero a bufTx
  	txAUX.ir = 0;
  	txAUX.iw = 0;
  	txAUX.maskSize = 0xFF;

  	txUSB.buf = bufUSB_Tx;										//Puntero a bufUSB_Tx
  	txUSB.ir = 0;
  	txUSB.iw = 0;
  	txUSB.maskSize = 0xFF;

  	txUSART.buf = bufUSART_Tx;									//Puntero a busUSART_Tx
  	txUSART.ir = 0;
  	txUSART.iw = 0;
  	txUSART.maskSize = 0xFF;

  	/*Envio de datos USB*/
  	bytes_to_send = 0;

  	/*Contador para ticker base de 1ms*/
  	time10ms = 40;
  	time5seg = 500;

  	//Configuracion requerida ESP01.h
  	ESP01Manager.aDoCHPD = CHENState;
  	ESP01Manager.aWriteUSARTByte = PutByteOnTxESP01;
  	ESP01Manager.bufRX = bufUSART_Rx;
  	ESP01Manager.iwRX = &txUSART.iw;
  	ESP01Manager.sizeBufferRX = 256;

  /* USER CODE END Init */

  /* Configure the system clock */
  SystemClock_Config();

  /* Initialize all configured peripherals */
  MX_GPIO_Init();
  MX_DMA_Init();
  MX_ADC1_Init();
  MX_TIM4_Init();
  MX_TIM2_Init();
  MX_I2C2_Init();
  MX_USART1_UART_Init();
  MX_USB_DEVICE_Init();
  /* USER CODE BEGIN 2 */

  HAL_Delay(1000);

  //COMUNICACION USB
  CDC_Attach_RxFun(OnUSBRx);
  DATAREADY = 0;
  //END COMUNICACION USB

  //CONFIGURACION UDP
  ESP01_Init(&ESP01Manager);
  ESP01_SetWIFI(SSID, PASSWORD);
  ESP01_StartUDP(RemoteIP, RemotePORT, LocalPORT);
  ESP01_AttachChangeState(GetESP01StateChange);
  ESP01_AttachDebugStr(GetESP01dbg);

  HAL_UART_Receive_IT(&huart1, &rxUSART.buf[rxUSART.iw], 1);			//Se habilita la interrupcion del USART1 (Recibo de a 1 byte)
  //END CONFIGURACION UDP

  HAL_TIM_Base_Start_IT (&htim2);										//Se habilita la interrupcion del timer2

  PWM_init();

  //CONFIGURACION DE MPU6050
  MPU6050_Init();

  //CONFIGURACION DE SH1106 OLED
  sh1106_Init();

  /* USER CODE END 2 */

  /* Infinite loop */
  /* USER CODE BEGIN WHILE */
  while (1)
  {
	  ESP01_Task();

	  if(IS10MS){
		  IS10MS = 0;
		  On10ms();
		  RobotWorkout();
	  }

	  if(IS5SEG){
		  IS5SEG = 0;
		  On5s();
	  }

	  if(rxUSB.ISCMD)                          					//Si se encontro un comando
		  DecodeCMD((_rx *)&rxUSB, (_tx *)&txUSB);

	  if(rxUSB.iw != rxUSB.ir)                   				//Mientras tenga datos en el buffer
		  DecodeHeader((_rx *)&rxUSB, (_tx *)&txUSB);

	  if(txUSB.iw != txUSB.ir)									//Si lo indices del tx son distintos es porque hay algo para enviar
		  TransmitUSB();

	  if(rxUSART.ISCMD)											//Si llego un comando por WIFI lo decodifico
		  DecodeCMD((_rx *)&rxUSART, (_tx *)&txUSART);

	  if(rxUSART.iw != rxUSART.ir)								//Si hay algo para decodificar en el USART
		  DecodeHeader((_rx *)&rxUSART, (_tx *)&txUSART);

	  if(txUSART.iw != txUSART.ir)								//Si hay algo para transmitir por el USART
		  TransmitUSART();

    /* USER CODE END WHILE */

  }
}

void SystemClock_Config(void)
{
  RCC_OscInitTypeDef RCC_OscInitStruct = {0};
  RCC_ClkInitTypeDef RCC_ClkInitStruct = {0};
  RCC_PeriphCLKInitTypeDef PeriphClkInit = {0};

  /** Initializes the RCC Oscillators according to the specified parameters
  * in the RCC_OscInitTypeDef structure.
  */
  RCC_OscInitStruct.OscillatorType = RCC_OSCILLATORTYPE_HSE;
  RCC_OscInitStruct.HSEState = RCC_HSE_ON;
  RCC_OscInitStruct.HSEPredivValue = RCC_HSE_PREDIV_DIV1;
  RCC_OscInitStruct.HSIState = RCC_HSI_ON;
  RCC_OscInitStruct.PLL.PLLState = RCC_PLL_ON;
  RCC_OscInitStruct.PLL.PLLSource = RCC_PLLSOURCE_HSE;
  RCC_OscInitStruct.PLL.PLLMUL = RCC_PLL_MUL9;
  if (HAL_RCC_OscConfig(&RCC_OscInitStruct) != HAL_OK)
  {
    Error_Handler();
  }

  /** Initializes the CPU, AHB and APB buses clocks
  */
  RCC_ClkInitStruct.ClockType = RCC_CLOCKTYPE_HCLK|RCC_CLOCKTYPE_SYSCLK
                              |RCC_CLOCKTYPE_PCLK1|RCC_CLOCKTYPE_PCLK2;
  RCC_ClkInitStruct.SYSCLKSource = RCC_SYSCLKSOURCE_PLLCLK;
  RCC_ClkInitStruct.AHBCLKDivider = RCC_SYSCLK_DIV1;
  RCC_ClkInitStruct.APB1CLKDivider = RCC_HCLK_DIV2;
  RCC_ClkInitStruct.APB2CLKDivider = RCC_HCLK_DIV1;

  if (HAL_RCC_ClockConfig(&RCC_ClkInitStruct, FLASH_LATENCY_2) != HAL_OK)
  {
    Error_Handler();
  }
  PeriphClkInit.PeriphClockSelection = RCC_PERIPHCLK_ADC|RCC_PERIPHCLK_USB;
  PeriphClkInit.AdcClockSelection = RCC_ADCPCLK2_DIV6;
  PeriphClkInit.UsbClockSelection = RCC_USBCLKSOURCE_PLL_DIV1_5;
  if (HAL_RCCEx_PeriphCLKConfig(&PeriphClkInit) != HAL_OK)
  {
    Error_Handler();
  }
}

static void MX_ADC1_Init(void)
{

  ADC_ChannelConfTypeDef sConfig = {0};

  /** Common config
  */
  hadc1.Instance = ADC1;
  hadc1.Init.ScanConvMode = ADC_SCAN_ENABLE;
  hadc1.Init.ContinuousConvMode = DISABLE;
  hadc1.Init.DiscontinuousConvMode = DISABLE;
  hadc1.Init.ExternalTrigConv = ADC_SOFTWARE_START;
  hadc1.Init.DataAlign = ADC_DATAALIGN_RIGHT;
  hadc1.Init.NbrOfConversion = 8;
  if (HAL_ADC_Init(&hadc1) != HAL_OK)
  {
    Error_Handler();
  }

  /** Configure Regular Channel
  */
  sConfig.Channel = ADC_CHANNEL_0;
  sConfig.Rank = ADC_REGULAR_RANK_1;
  sConfig.SamplingTime = ADC_SAMPLETIME_1CYCLE_5;
  if (HAL_ADC_ConfigChannel(&hadc1, &sConfig) != HAL_OK)
  {
    Error_Handler();
  }

  /** Configure Regular Channel
  */
  sConfig.Rank = ADC_REGULAR_RANK_2;
  if (HAL_ADC_ConfigChannel(&hadc1, &sConfig) != HAL_OK)
  {
    Error_Handler();
  }

  /** Configure Regular Channel
  */
  sConfig.Rank = ADC_REGULAR_RANK_3;
  if (HAL_ADC_ConfigChannel(&hadc1, &sConfig) != HAL_OK)
  {
    Error_Handler();
  }

  /** Configure Regular Channel
  */
  sConfig.Rank = ADC_REGULAR_RANK_4;
  if (HAL_ADC_ConfigChannel(&hadc1, &sConfig) != HAL_OK)
  {
    Error_Handler();
  }

  /** Configure Regular Channel
  */
  sConfig.Rank = ADC_REGULAR_RANK_5;
  if (HAL_ADC_ConfigChannel(&hadc1, &sConfig) != HAL_OK)
  {
    Error_Handler();
  }

  /** Configure Regular Channel
  */
  sConfig.Rank = ADC_REGULAR_RANK_6;
  if (HAL_ADC_ConfigChannel(&hadc1, &sConfig) != HAL_OK)
  {
    Error_Handler();
  }

  /** Configure Regular Channel
  */
  sConfig.Rank = ADC_REGULAR_RANK_7;
  if (HAL_ADC_ConfigChannel(&hadc1, &sConfig) != HAL_OK)
  {
    Error_Handler();
  }

  /** Configure Regular Channel
  */
  sConfig.Rank = ADC_REGULAR_RANK_8;
  if (HAL_ADC_ConfigChannel(&hadc1, &sConfig) != HAL_OK)
  {
    Error_Handler();
  }

}

static void MX_I2C2_Init(void)
{

  hi2c2.Instance = I2C2;
  hi2c2.Init.ClockSpeed = 400000;
  hi2c2.Init.DutyCycle = I2C_DUTYCYCLE_2;
  hi2c2.Init.OwnAddress1 = 0;
  hi2c2.Init.AddressingMode = I2C_ADDRESSINGMODE_7BIT;
  hi2c2.Init.DualAddressMode = I2C_DUALADDRESS_DISABLE;
  hi2c2.Init.OwnAddress2 = 0;
  hi2c2.Init.GeneralCallMode = I2C_GENERALCALL_DISABLE;
  hi2c2.Init.NoStretchMode = I2C_NOSTRETCH_DISABLE;
  if (HAL_I2C_Init(&hi2c2) != HAL_OK)
  {
    Error_Handler();
  }

}

static void MX_TIM2_Init(void)
{

  TIM_ClockConfigTypeDef sClockSourceConfig = {0};
  TIM_MasterConfigTypeDef sMasterConfig = {0};

  htim2.Instance = TIM2;
  htim2.Init.Prescaler = 0;
  htim2.Init.CounterMode = TIM_COUNTERMODE_UP;
  htim2.Init.Period = 18000;
  htim2.Init.ClockDivision = TIM_CLOCKDIVISION_DIV1;
  htim2.Init.AutoReloadPreload = TIM_AUTORELOAD_PRELOAD_DISABLE;
  if (HAL_TIM_Base_Init(&htim2) != HAL_OK)
  {
    Error_Handler();
  }
  sClockSourceConfig.ClockSource = TIM_CLOCKSOURCE_INTERNAL;
  if (HAL_TIM_ConfigClockSource(&htim2, &sClockSourceConfig) != HAL_OK)
  {
    Error_Handler();
  }
  sMasterConfig.MasterOutputTrigger = TIM_TRGO_RESET;
  sMasterConfig.MasterSlaveMode = TIM_MASTERSLAVEMODE_DISABLE;
  if (HAL_TIMEx_MasterConfigSynchronization(&htim2, &sMasterConfig) != HAL_OK)
  {
    Error_Handler();
  }

}

static void MX_TIM4_Init(void)
{

  TIM_ClockConfigTypeDef sClockSourceConfig = {0};
  TIM_MasterConfigTypeDef sMasterConfig = {0};
  TIM_OC_InitTypeDef sConfigOC = {0};

  htim4.Instance = TIM4;
  htim4.Init.Prescaler = 720-1;
  htim4.Init.CounterMode = TIM_COUNTERMODE_UP;
  htim4.Init.Period = 1000;
  htim4.Init.ClockDivision = TIM_CLOCKDIVISION_DIV1;
  htim4.Init.AutoReloadPreload = TIM_AUTORELOAD_PRELOAD_DISABLE;
  if (HAL_TIM_Base_Init(&htim4) != HAL_OK)
  {
    Error_Handler();
  }
  sClockSourceConfig.ClockSource = TIM_CLOCKSOURCE_INTERNAL;
  if (HAL_TIM_ConfigClockSource(&htim4, &sClockSourceConfig) != HAL_OK)
  {
    Error_Handler();
  }
  if (HAL_TIM_PWM_Init(&htim4) != HAL_OK)
  {
    Error_Handler();
  }
  sMasterConfig.MasterOutputTrigger = TIM_TRGO_RESET;
  sMasterConfig.MasterSlaveMode = TIM_MASTERSLAVEMODE_DISABLE;
  if (HAL_TIMEx_MasterConfigSynchronization(&htim4, &sMasterConfig) != HAL_OK)
  {
    Error_Handler();
  }
  sConfigOC.OCMode = TIM_OCMODE_PWM1;
  sConfigOC.Pulse = 0;
  sConfigOC.OCPolarity = TIM_OCPOLARITY_HIGH;
  sConfigOC.OCFastMode = TIM_OCFAST_DISABLE;
  if (HAL_TIM_PWM_ConfigChannel(&htim4, &sConfigOC, TIM_CHANNEL_1) != HAL_OK)
  {
    Error_Handler();
  }
  if (HAL_TIM_PWM_ConfigChannel(&htim4, &sConfigOC, TIM_CHANNEL_2) != HAL_OK)
  {
    Error_Handler();
  }
  if (HAL_TIM_PWM_ConfigChannel(&htim4, &sConfigOC, TIM_CHANNEL_3) != HAL_OK)
  {
    Error_Handler();
  }
  if (HAL_TIM_PWM_ConfigChannel(&htim4, &sConfigOC, TIM_CHANNEL_4) != HAL_OK)
  {
    Error_Handler();
  }
  HAL_TIM_MspPostInit(&htim4);

}

static void MX_USART1_UART_Init(void)
{

  huart1.Instance = USART1;
  huart1.Init.BaudRate = 115200;
  huart1.Init.WordLength = UART_WORDLENGTH_8B;
  huart1.Init.StopBits = UART_STOPBITS_1;
  huart1.Init.Parity = UART_PARITY_NONE;
  huart1.Init.Mode = UART_MODE_TX_RX;
  huart1.Init.HwFlowCtl = UART_HWCONTROL_NONE;
  huart1.Init.OverSampling = UART_OVERSAMPLING_16;
  if (HAL_UART_Init(&huart1) != HAL_OK)
  {
    Error_Handler();
  }

}

static void MX_DMA_Init(void)
{

  /* DMA controller clock enable */
  __HAL_RCC_DMA1_CLK_ENABLE();

  /* DMA interrupt init */
  /* DMA1_Channel1_IRQn interrupt configuration */
  HAL_NVIC_SetPriority(DMA1_Channel1_IRQn, 0, 0);
  HAL_NVIC_EnableIRQ(DMA1_Channel1_IRQn);

}

static void MX_GPIO_Init(void)
{
  GPIO_InitTypeDef GPIO_InitStruct = {0};

  /* GPIO Ports Clock Enable */
  __HAL_RCC_GPIOC_CLK_ENABLE();
  __HAL_RCC_GPIOD_CLK_ENABLE();
  __HAL_RCC_GPIOA_CLK_ENABLE();
  __HAL_RCC_GPIOB_CLK_ENABLE();

  /*Configure GPIO pin Output Level */
  HAL_GPIO_WritePin(HEARBEAT_LED_GPIO_Port, HEARBEAT_LED_Pin, GPIO_PIN_RESET);

  /*Configure GPIO pin Output Level */
  HAL_GPIO_WritePin(GPIOB, AUX1_ESP_Pin|LED_MODE_Pin, GPIO_PIN_RESET);

  /*Configure GPIO pin : HEARBEAT_LED_Pin */
  GPIO_InitStruct.Pin = HEARBEAT_LED_Pin;
  GPIO_InitStruct.Mode = GPIO_MODE_OUTPUT_PP;
  GPIO_InitStruct.Pull = GPIO_NOPULL;
  GPIO_InitStruct.Speed = GPIO_SPEED_FREQ_LOW;
  HAL_GPIO_Init(HEARBEAT_LED_GPIO_Port, &GPIO_InitStruct);

  /*Configure GPIO pins : AUX1_ESP_Pin LED_MODE_Pin */
  GPIO_InitStruct.Pin = AUX1_ESP_Pin|LED_MODE_Pin;
  GPIO_InitStruct.Mode = GPIO_MODE_OUTPUT_PP;
  GPIO_InitStruct.Pull = GPIO_NOPULL;
  GPIO_InitStruct.Speed = GPIO_SPEED_FREQ_LOW;
  HAL_GPIO_Init(GPIOB, &GPIO_InitStruct);

  /*Configure GPIO pin : BUTTOM_MODE_Pin */
  GPIO_InitStruct.Pin = BUTTOM_MODE_Pin;
  GPIO_InitStruct.Mode = GPIO_MODE_IT_FALLING;
  GPIO_InitStruct.Pull = GPIO_PULLUP;
  HAL_GPIO_Init(BUTTOM_MODE_GPIO_Port, &GPIO_InitStruct);

  /* EXTI interrupt init*/
  HAL_NVIC_SetPriority(EXTI4_IRQn, 0, 0);
  HAL_NVIC_EnableIRQ(EXTI4_IRQn);

}

void Error_Handler(void)
{
  __disable_irq();
  while (1)
  {
  }
}
